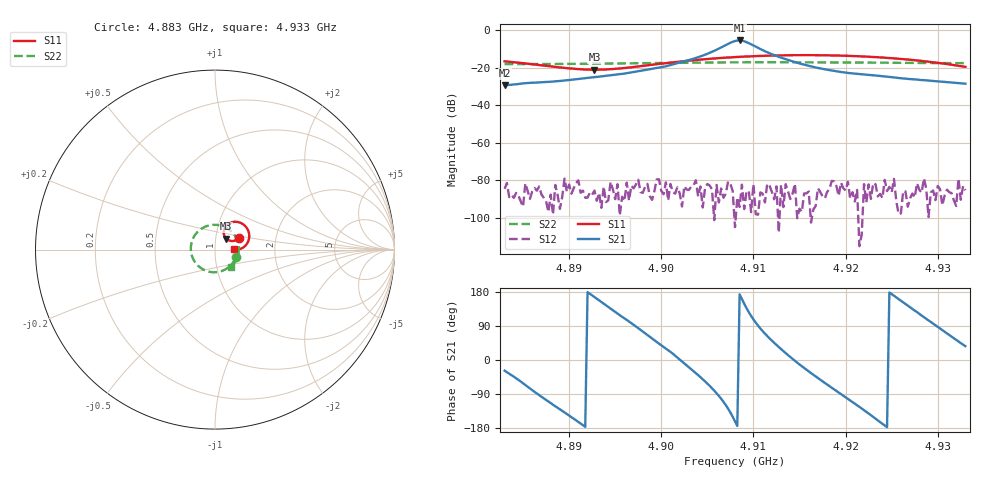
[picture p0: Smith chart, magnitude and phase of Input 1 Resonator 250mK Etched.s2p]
!Agilent Technologies,N5230A,MY45001652,A.07.50.57
!Agilent N5230A: A.07.50.57
!Date: Sunday, September 20, 2015 12:38:13
!Correction: S11(Full 2 Port(1,2))
!S21(Full 2 Port(1,2))
!S12(Full 2 Port(1,2))
!S22(Full 2 Port(1,2))
!S2P File: Measurements: S11, S21, S12, S22:
# Hz S  dB  R 50
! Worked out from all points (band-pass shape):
!   201 points, 4.883 GHz to 4.933 GHz, reference 50 ohm
!   highest |S21| = -5.59 dB at 4.9085 GHz (marker M1); lowest = -29.3 dB at 4.883 GHz (marker M2)
!   |S21| within 3 dB of the highest: 4.90678 GHz to 4.91013 GHz (3.35 MHz wide, 0.0683 % of centre)
!   lowest |S11| = -21.1 dB at 4.8928 GHz (marker M3), VSWR 1.19, Z = 56.2 + j6.95 ohm
!   |S11| at or under -10 dB: start of sweep to end of sweep
!   |S22| runs from -18.2 to -17.1 dB; largest |S21 - S12| = 0.53
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4.883e9  -16.66 25.4  -29.35 -28.1  -84.51 108.7  -18.16 -20.3
4.8915e9  -20.98 38.1  -25.78 -172.0  -85.46 -94.0  -18.00 -88.5
4.89275e9  -21.14 44.4  -25.09 165.9  -85.39 -64.5  -17.95 -98.3
4.89975e9  -18.04 65.9  -20.02 43.2  -79.39 -3.5  -17.58 -153.4
4.903e9  -16.33 64.0  -16.01 -19.1  -85.07 106.9  -17.42 -178.2
4.90525e9  -15.35 60.5  -12.18 -68.2  -82.71 -92.7  -17.32 164.9
4.907e9  -14.73 57.0  -8.03 -119.1  -87.08 -176.6  -17.25 151.8
4.9075e9  -14.57 55.9  -6.81 -138.6  -81.85 -145.8  -17.24 148.2
4.908e9  -14.43 54.7  -5.90 -161.5  -104.88 -6.0  -17.21 144.4
4.9085e9  -14.30 53.5  -5.59 173.3  -94.12 139.4  -17.20 140.7
4.909e9  -14.17 52.3  -6.03 148.4  -95.27 105.0  -17.18 136.9
4.9095e9  -14.05 51.0  -7.02 126.2  -85.82 7.1  -17.17 133.2
4.9105e9  -13.85 48.5  -9.53 90.7  -98.28 78.4  -17.16 125.7
4.9115e9  -13.69 45.8  -11.88 63.1  -81.75 -126.3  -17.15 118.3
4.914e9  -13.43 39.0  -16.32 7.8  -89.89 -85.4  -17.18 99.7
4.9165e9  -13.40 31.9  -19.66 -38.9  -95.47 106.7  -17.20 81.2
4.92475e9  -14.93 9.9  -25.01 178.2  -83.45 -120.8  -17.45 18.3
4.92825e9  -16.47 3.0  -26.66 117.3  -86.52 175.3  -17.58 -9.3
4.9285e9  -16.61 2.6  -26.70 113.1  -78.94 -48.4  -17.58 -11.2
4.92875e9  -16.75 2.2  -26.83 108.8  -84.32 157.4  -17.58 -13.3
4.93225e9  -19.05 0.6  -28.26 48.8  -79.07 -104.1  -17.63 -41.3
4.933e9  -19.63 1.4  -28.58 36.6  -85.28 9.0  -17.63 -47.3
